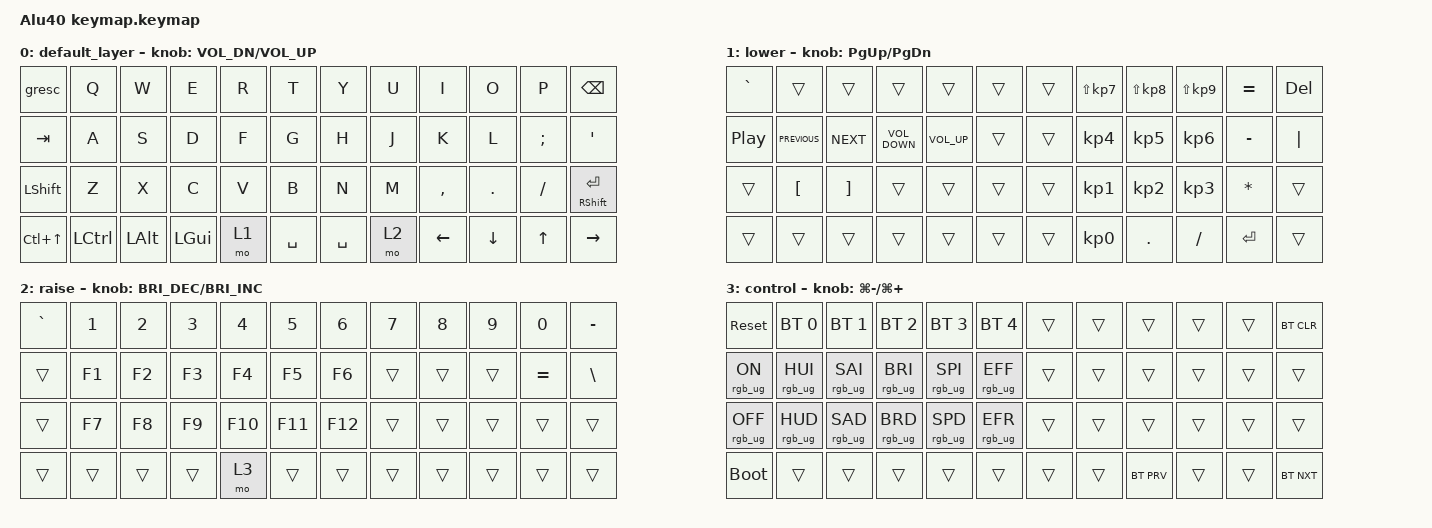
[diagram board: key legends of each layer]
/*
 * Copyright (c) 2022 The ZMK Contributors
 *
 * SPDX-License-Identifier: MIT
 */

#include <behaviors.dtsi>
#include <dt-bindings/zmk/bt.h>
#include <dt-bindings/zmk/keys.h>
#include <dt-bindings/zmk/rgb.h>

/ {
    combos {
        compatible = "zmk,combos";
    };

    keymap {
        compatible = "zmk,keymap";

        default_layer {
            // -----------------------------------------------------------------------------------------
            // | ESC/~ |  Q   |  W   |  E   |  R   |  T   |   Y   |  U    |  I   |  O   |   P   | BSPC  |
            // | TAB   |  A   |  S   |  D   |  F   |  G   |   H   |  J    |  K   |  L   |   ;   |  '    |
            // | SHIFT |  Z   |  X   |  C   |  V   |  B   |   N   |  M    |  ,   |  .   |   /   |RET/SFT|
            // | PLAY  | LCTL | LALT | LGUI | LOWR |     SPACE    |  RAIS | LARW | UARW | DARW  |  RARW |

            bindings = <
&gresc            &kp Q      &kp W     &kp E     &kp R  &kp T      &kp Y      &kp U  &kp I      &kp O     &kp P         &kp BSPC
&kp TAB           &kp A      &kp S     &kp D     &kp F  &kp G      &kp H      &kp J  &kp K      &kp L     &kp SEMI      &kp SQT
&kp LSHFT         &kp Z      &kp X     &kp C     &kp V  &kp B      &kp N      &kp M  &kp COMMA  &kp DOT   &kp FSLH      &mt RSHFT RET
&kp LC(UP_ARROW)  &kp LCTRL  &kp LALT  &kp LGUI  &mo 1  &kp SPACE  &kp SPACE  &mo 2  &kp LEFT   &kp DOWN  &kp UP_ARROW  &kp RIGHT
            >;

            sensor-bindings = <&inc_dec_kp C_VOL_DN C_VOL_UP>;
        };

        lower {
            bindings = <
&kp GRAVE         &trans            &trans             &trans             &trans           &trans  &trans  &kp LS(KP_N7)    &kp LS(KP_N8)  &kp LS(KP_N9)  &kp EQUAL     &kp DEL
&kp C_PLAY_PAUSE  &kp C_PREVIOUS    &kp C_NEXT         &kp C_VOLUME_DOWN  &kp C_VOLUME_UP  &trans  &trans  &kp KP_N4        &kp KP_N5      &kp KP_N6      &kp MINUS     &kp PIPE
&trans            &kp LEFT_BRACKET  &kp RIGHT_BRACKET  &trans             &trans           &trans  &trans  &kp KP_N1        &kp KP_N2      &kp KP_N3      &kp ASTERISK  &trans
&trans            &trans            &trans             &trans             &trans           &trans  &trans  &kp KP_NUMBER_0  &kp DOT        &kp SLASH      &kp ENTER     &trans
            >;

            sensor-bindings = <&inc_dec_kp PG_UP PG_DN>;
        };

        raise {
            bindings = <
&kp GRAVE  &kp N1  &kp N2  &kp N3  &kp N4   &kp N5   &kp N6   &kp N7  &kp N8  &kp N9  &kp N0     &kp MINUS
&trans     &kp F1  &kp F2  &kp F3  &kp F4   &kp F5   &kp F6   &trans  &trans  &trans  &kp EQUAL  &kp BSLH
&trans     &kp F7  &kp F8  &kp F9  &kp F10  &kp F11  &kp F12  &trans  &trans  &trans  &trans     &trans
&trans     &trans  &trans  &trans  &mo 3    &trans   &trans   &trans  &trans  &trans  &trans     &trans
            >;

            sensor-bindings = <&inc_dec_kp C_BRI_DEC C_BRI_INC>;
        };

        control {
            bindings = <
&sys_reset       &bt BT_SEL 0     &bt BT_SEL 1     &bt BT_SEL 2     &bt BT_SEL 3     &bt BT_SEL 4     &trans  &trans  &trans      &trans  &trans  &bt BT_CLR
&rgb_ug RGB_ON   &rgb_ug RGB_HUI  &rgb_ug RGB_SAI  &rgb_ug RGB_BRI  &rgb_ug RGB_SPI  &rgb_ug RGB_EFF  &trans  &trans  &trans      &trans  &trans  &trans
&rgb_ug RGB_OFF  &rgb_ug RGB_HUD  &rgb_ug RGB_SAD  &rgb_ug RGB_BRD  &rgb_ug RGB_SPD  &rgb_ug RGB_EFR  &trans  &trans  &trans      &trans  &trans  &trans
&bootloader      &trans           &trans           &trans           &trans           &trans           &trans  &trans  &bt BT_PRV  &trans  &trans  &bt BT_NXT
            >;

            sensor-bindings = <&inc_dec_kp LG(MINUS) LG(PLUS)>;
        };
    };
};
